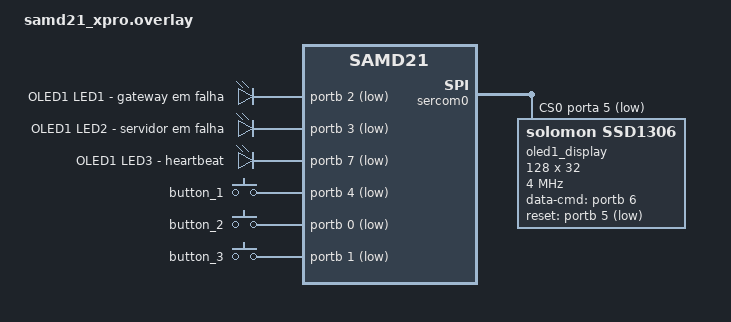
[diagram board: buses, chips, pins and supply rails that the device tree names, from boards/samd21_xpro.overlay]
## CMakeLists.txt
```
cmake_minimum_required(VERSION 3.20.0)

find_package(Zephyr REQUIRED HINTS $ENV{ZEPHYR_BASE})
project(supervisor LANGUAGES C)

target_sources(app PRIVATE
  src/main.c
  src/monitor.c
  src/http.c
  src/ui.c
)
target_sources_ifdef(CONFIG_CHARACTER_FRAMEBUFFER app PRIVATE src/font6x8.c)

# Linhas do display são cortadas em 21 colunas de propósito
target_compile_options(app PRIVATE -Wno-format-truncation)
```

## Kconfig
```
menu "Supervisor (grupo D)"

config SUPERVISOR_GATEWAY_ADDR
	string "IPv4 do gateway"
	default "192.168.0.10"

config SUPERVISOR_GATEWAY_PORT
	int "Porta HTTP do gateway"
	default 5500
	help
	  5500 = simulador (pasta sim/). Na integração, a porta real do grupo B.

config SUPERVISOR_SERVER_ADDR
	string "IPv4 do servidor"
	default "192.168.0.10"

config SUPERVISOR_SERVER_PORT
	int "Porta HTTP do servidor"
	default 5501
	help
	  5501 = simulador (pasta sim/). Na integração, a porta real do grupo C.

config SUPERVISOR_POLL_MS
	int "Período de consulta (ms)"
	default 2000

config SUPERVISOR_TIMEOUT_MS
	int "Timeout de cada requisição HTTP (ms)"
	default 1500

config SUPERVISOR_FAIL_THRESHOLD
	int "N timeouts consecutivos para marcar falha"
	default 3

config SUPERVISOR_RESET_GRACE_MS
	int "Tempo após POST /reset em que falhas não contam (ms)"
	default 10000

endmenu

source "Kconfig.zephyr"
```

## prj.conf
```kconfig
# Comum a todas as placas. Ajustes por placa em boards/<placa>.conf

CONFIG_LOG=y
CONFIG_JSON_LIBRARY=y

CONFIG_NETWORKING=y
CONFIG_NET_IPV4=y
CONFIG_NET_IPV6=n
CONFIG_NET_TCP=y
CONFIG_NET_SOCKETS=y

# Endereços do gateway e do servidor. O http.c resolve com getaddrinfo, que
# trata IP literal sem precisar do resolver de DNS ligado — e ele está
# desligado de propósito, ver a nota em boards/samd21_xpro.conf.
# Com o simulador (pasta sim/), são o IP do PC nas portas 5500 e 5501.
CONFIG_SUPERVISOR_GATEWAY_ADDR="45.182.14.16"
CONFIG_SUPERVISOR_SERVER_ADDR="45.182.14.16"
```

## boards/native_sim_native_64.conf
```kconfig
# Roda o supervisor no PC (Linux) usando os sockets do host: testa toda a
# lógica contra o simulador (pasta sim/) sem placa. Sem display: as telas
# saem no console.
CONFIG_NET_DRIVERS=y
CONFIG_NET_SOCKETS_OFFLOAD=y
CONFIG_NET_NATIVE_OFFLOADED_SOCKETS=y
CONFIG_ETH_NATIVE_TAP=n

CONFIG_SUPERVISOR_GATEWAY_ADDR="127.0.0.1"
CONFIG_SUPERVISOR_SERVER_ADDR="127.0.0.1"
```

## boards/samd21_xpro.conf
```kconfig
# OLED1: display SSD1306 por SPI + botões (gpio-keys) + LEDs
CONFIG_GPIO=y
CONFIG_SPI=y
CONFIG_INPUT=y
CONFIG_DISPLAY=y
CONFIG_CHARACTER_FRAMEBUFFER=y
CONFIG_CHARACTER_FRAMEBUFFER_USE_DEFAULT_FONTS=n
CONFIG_HEAP_MEM_POOL_SIZE=1024

# Ethernet SPI (o driver vem de eth_ksz8851snl.overlay)
CONFIG_NET_L2_ETHERNET=y
CONFIG_ETH_DRIVER=y

# Endereco da placa por DHCP: basta plugar o cabo no roteador.
CONFIG_NET_CONFIG_SETTINGS=y
CONFIG_NET_DHCPV4=y

# String vazia faz o setup_ipv4() do net_config nao adicionar endereco nenhum
# e deixar tudo para o DHCP. Para voltar ao IP fixo, basta preencher.
CONFIG_NET_CONFIG_MY_IPV4_ADDR=""
CONFIG_NET_CONFIG_MY_IPV4_NETMASK=""
CONFIG_NET_CONFIG_MY_IPV4_GW=""

# No padrao (30 s) o Zephyr segura o main() esperando a interface e o OLED fica
# apagado esse tempo todo. O cliente DHCP escuta NET_EVENT_IF_UP sozinho.
CONFIG_NET_CONFIG_INIT_TIMEOUT=1
CONFIG_NET_SOCKETS_CONNECT_TIMEOUT=1500

# DNS desligado: o getaddrinfo resolve IP literal sem o resolver, que custava
# ~3 KB de RAM. Para usar nome, acrescentar (o http.c nao muda):
#   CONFIG_DNS_RESOLVER=y
#   CONFIG_NET_DHCPV4_OPTION_DNS_ADDRESS=y
#   CONFIG_NET_SOCKETS_DNS_TIMEOUT=1500
#   CONFIG_DNS_RESOLVER_MAX_QUERY_LEN=64
#   CONFIG_DNS_RESOLVER_MAX_ANSWER_SIZE=256
#   CONFIG_DNS_RESOLVER_ADDITIONAL_BUF_CTR=0
#   CONFIG_DNS_RESOLVER_CACHE=y
#   CONFIG_DNS_RESOLVER_CACHE_MAX_ENTRIES=2

# SAMD21 tem 32 KB de RAM: pilha de rede enxuta
CONFIG_NET_PKT_RX_COUNT=6
CONFIG_NET_PKT_TX_COUNT=6
CONFIG_NET_BUF_RX_COUNT=12
CONFIG_NET_BUF_TX_COUNT=12
CONFIG_NET_MAX_CONTEXTS=4
CONFIG_NET_MAX_CONN=4
CONFIG_ZVFS_OPEN_MAX=8
CONFIG_NET_TCP_WORKQ_STACK_SIZE=768
CONFIG_NET_RX_STACK_SIZE=1024
CONFIG_NET_TX_STACK_SIZE=1024
CONFIG_NET_MGMT_EVENT_STACK_SIZE=768
CONFIG_MAIN_STACK_SIZE=1024
# A transmissao roda na workqueue do sistema e a cadeia ate o spi_sam0 e funda:
# com 1 KB (o padrao) ela estourava.
CONFIG_SYSTEM_WORKQUEUE_STACK_SIZE=1280
# Sem MPU no SAMD21, estouro de pilha corrompe memoria em silencio; o
# sentinela transforma isso em panico com mensagem.
CONFIG_STACK_SENTINEL=y
CONFIG_INPUT_THREAD_STACK_SIZE=512
# log síncrono via printk: economiza ~2 KB (sem thread nem buffer de log)
CONFIG_LOG_MODE_MINIMAL=y
CONFIG_ISR_STACK_SIZE=1024

# SAMD21 não tem TRNG; o TCP precisa de números aleatórios (portas, ISN).
# Não é seguro para criptografia, mas aqui não há TLS.
CONFIG_TEST_RANDOM_GENERATOR=y
```

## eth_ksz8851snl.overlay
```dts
/*
 * Ethernet1 Xplained Pro (ATETHERNET1-XPRO, chip KSZ8851SNL) no EXT3 da
 * SAM D21 Xplained Pro.
 *
 *   west build -b samd21_xpro supervisor -- -DEXTRA_DTC_OVERLAY_FILE=eth_ksz8851snl.overlay
 *
 * Pinos da Ethernet1 (tabela 1-4 do user guide dela) -> EXT3 da SAMD21 Xpro
 * (tabela 4-3, páginas 12-13 do Atmel-42220B):
 *
 *   EXT  sinal      SAMD21   observação
 *    5   PME        PB30     wake-on-LAN; é o LED0 da placa (ver abaixo)
 *    6   nRST       PA15     é o SW0 da placa (ver abaixo)
 *    9   INTRN      PA28     interrupção, ativa baixa, EXTINT[8]
 *   15   SPI_SS_A   PB17     chip select
 *   16   SPI_MOSI   PB22     SERCOM5 PAD2
 *   17   SPI_MISO   PB16     SERCOM5 PAD0
 *   18   SPI_SCK    PB23     SERCOM5 PAD3
 *
 * Cuidado: o nRST fica no pino 6, não no 10 como é comum em outros módulos
 * SPI do padrão Xplained Pro. Nesta placa o pino 10 é NC.
 *
 * O nRST cai no PA15, que é o SW0 da placa e aterra o pino quando apertado.
 * Não dá para omitir reset-gpios e confiar no pull-up do gpio-keys: ele
 * inicializa em prioridade 90 e o driver de Ethernet em 60, então o nRST
 * ficaria flutuando na leitura do Chip ID. O driver trata o pino como dreno
 * aberto, e o user_button é removido para não disputar o PA15.
 */

&pinctrl {
	sercom5_spi_ext3: sercom5_spi_ext3 {
		group1 {
			pinmux = <PB16C_SERCOM5_PAD0>,
				 <PB22D_SERCOM5_PAD2>,
				 <PB23D_SERCOM5_PAD3>;
		};
	};
};

/* O PB30 é o LED0 da placa e também o PME da Ethernet: remover o LED0 evita
 * que algum código o acione contra essa saída.
 */
/delete-node/ &pwm_led0;
/delete-node/ &led0;

/* O PA15 passa a ser o nRST da Ethernet; ver a nota no cabeçalho */
/delete-node/ &user_button;

/ {
	aliases {
		/delete-property/ led0;
		/delete-property/ pwm-led0;
		/delete-property/ sw0;
	};
};

&tcc0 {
	status = "disabled";
};

/* O samd21_xpro.overlay desliga o SERCOM5 por causa do PB02; aqui ele volta */
&sercom5 {
	status = "okay";
	/* MISO = PAD0, MOSI = PAD2, SCK = PAD3 */
	dipo = <0>;
	dopo = <1>;
	pinctrl-0 = <&sercom5_spi_ext3>;

	/*
	 * PB17 é o chip select da Ethernet (reg = <0>). PA13 é o do Serial
	 * Flash, que divide este barramento e não tem nó filho: está aqui só
	 * para o spi_context_cs_configure_all() o deixar em nível alto no init,
	 * em vez de flutuar e responder no meio das transferências.
	 */
	cs-gpios = <&portb 17 GPIO_ACTIVE_LOW>,
		   <&porta 13 GPIO_ACTIVE_LOW>;

	eth: ksz8851snl@0 {
		compatible = "microchip,ksz8851snl";
		reg = <0>;
		/* O chip aceita até 40 MHz; 8 MHz é folgado para o SERCOM */
		spi-max-frequency = <8000000>;
		int-gpios = <&porta 28 GPIO_ACTIVE_LOW>;
		reset-gpios = <&porta 15 GPIO_ACTIVE_LOW>;
		local-mac-address = [02 00 00 00 00 0d];
	};
};
```

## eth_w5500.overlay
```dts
/*
 * EXEMPLO de módulo Ethernet SPI no EXT1 da SAMD21 Xpro (ainda não sabemos
 * qual módulo o laboratório tem). Usar com:
 *
 *   west build -b samd21_xpro supervisor -- -DEXTRA_DTC_OVERLAY_FILE=eth_w5500.overlay
 *
 * EXT1: 15 SS PA05 | 16 MOSI PA06 | 17 MISO PA04 | 18 SCK PA07 | 9 IRQ PB04 | 10 RESET PB05
 *
 * Para ENC28J60 (ex.: ETH Click): trocar o nó por compatible = "microchip,enc28j60"
 * (mesmos reg/int-gpios/spi-max-frequency, ver dts/bindings/ethernet no Zephyr).
 * O ETHERNET1 Xplained Pro (KSZ8851SNL) NÃO tem driver no Zephyr.
 */

&pinctrl {
	sercom0_spi_ext1: sercom0_spi_ext1 {
		group1 {
			pinmux = <PA4D_SERCOM0_PAD0>,
				 <PA6D_SERCOM0_PAD2>,
				 <PA7D_SERCOM0_PAD3>;
		};
	};
};

/* Na placa o SERCOM0 vem como UART; aqui vira o SPI do EXT1 */
&sercom0 {
	compatible = "atmel,sam0-spi";
	/delete-property/ current-speed;
	/delete-property/ rxpo;
	/delete-property/ txpo;
	status = "okay";
	#address-cells = <1>;
	#size-cells = <0>;
	dipo = <0>;
	dopo = <1>;
	pinctrl-0 = <&sercom0_spi_ext1>;
	cs-gpios = <&porta 5 GPIO_ACTIVE_LOW>;

	eth: w5500@0 {
		compatible = "wiznet,w5500";
		reg = <0>;
		spi-max-frequency = <8000000>;
		int-gpios = <&portb 4 GPIO_ACTIVE_LOW>;
		reset-gpios = <&portb 5 GPIO_ACTIVE_LOW>;
		local-mac-address = [02 00 00 00 00 0d];
	};
};
```

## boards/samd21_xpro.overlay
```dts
/*
 * SAM D21 Xplained Pro + OLED1 Xplained Pro no conector EXT1.
 *
 * Pinos do OLED1 (tabela 1-2 do user guide dele) -> EXT1 da SAMD21 Xpro
 * (tabela 4-1, página 11 do Atmel-42220B):
 *
 *   EXT  sinal           SAMD21
 *    3   BOTÃO 2         PB00
 *    4   BOTÃO 3         PB01
 *    5   D/C             PB06
 *    6   LED 3           PB07
 *    7   LED 1           PB02
 *    8   LED 2           PB03
 *    9   BOTÃO 1         PB04
 *   10   DISPLAY_RESET   PB05
 *   15   SPI SS          PA05
 *   16   SPI MOSI        PA06   (SERCOM0 PAD2)
 *   17   SPI MISO        PA04   (SERCOM0 PAD0)
 *   18   SPI SCK         PA07   (SERCOM0 PAD3)
 *
 * Fica no EXT1, e não no EXT3, porque lá dois sinais não chegam ao MCU (notas
 * 1 e 2 da tabela 4-3): o LED 2 (PA13) sai de fábrica ligado ao Serial Flash e
 * desconectado do conector, e o BOTÃO 3 (PA03) depende do jumper JS300. No
 * EXT1 nenhum pino é compartilhado.
 */

#include <zephyr/dt-bindings/input/input-event-codes.h>

/ {
	chosen {
		zephyr,display = &oled1_display;
	};

	oled1_leds {
		compatible = "gpio-leds";

		led_gw: led_1 {
			gpios = <&portb 2 GPIO_ACTIVE_LOW>;
			label = "OLED1 LED1 - gateway em falha";
		};

		led_srv: led_2 {
			gpios = <&portb 3 GPIO_ACTIVE_LOW>;
			label = "OLED1 LED2 - servidor em falha";
		};

		led_hb: led_3 {
			gpios = <&portb 7 GPIO_ACTIVE_LOW>;
			label = "OLED1 LED3 - heartbeat";
		};
	};

	oled1_buttons {
		compatible = "gpio-keys";

		button_1 {
			gpios = <&portb 4 (GPIO_PULL_UP | GPIO_ACTIVE_LOW)>;
			zephyr,code = <INPUT_KEY_1>;
		};

		button_2 {
			gpios = <&portb 0 (GPIO_PULL_UP | GPIO_ACTIVE_LOW)>;
			zephyr,code = <INPUT_KEY_2>;
		};

		button_3 {
			gpios = <&portb 1 (GPIO_PULL_UP | GPIO_ACTIVE_LOW)>;
			zephyr,code = <INPUT_KEY_3>;
		};
	};
};

/*
 * O pinctrl padrão do SERCOM5 usa o PB02 como PAD0, e o PB02 é o pino 7 do
 * EXT1, onde agora está o LED 1. Sem desligar o SERCOM5 o driver de SPI toma
 * esse pino no init e o LED 1 nunca acende. Quem usa o EXT3 é a Ethernet, e o
 * eth_ksz8851snl.overlay reabilita o SERCOM5 com os pinos certos do EXT3.
 */
&sercom5 {
	status = "disabled";
};

&pinctrl {
	sercom0_spi_ext1: sercom0_spi_ext1 {
		group1 {
			pinmux = <PA4D_SERCOM0_PAD0>,
				 <PA6D_SERCOM0_PAD2>,
				 <PA7D_SERCOM0_PAD3>;
		};
	};
};

/* Na placa o SERCOM0 vem declarado como UART; aqui vira o SPI do EXT1 */
&sercom0 {
	compatible = "atmel,sam0-spi";
	/delete-property/ current-speed;
	/delete-property/ rxpo;
	/delete-property/ txpo;
	status = "okay";
	#address-cells = <1>;
	#size-cells = <0>;
	/* MISO = PAD0, MOSI = PAD2, SCK = PAD3 */
	dipo = <0>;
	dopo = <1>;
	pinctrl-0 = <&sercom0_spi_ext1>;
	cs-gpios = <&porta 5 GPIO_ACTIVE_LOW>;

	oled1_display: ssd1306@0 {
		compatible = "solomon,ssd1306";
		reg = <0>;
		spi-max-frequency = <4000000>;
		data-cmd-gpios = <&portb 6 GPIO_ACTIVE_HIGH>;
		reset-gpios = <&portb 5 GPIO_ACTIVE_LOW>;
		width = <128>;
		height = <32>;
		segment-offset = <0>;
		page-offset = <0>;
		display-offset = <0>;
		multiplex-ratio = <31>;
		segment-remap;
		com-invdir;
		com-sequential;
		prechargep = <0x22>;
	};
};
```

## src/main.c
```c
/*
 * Supervisor (grupo D): consulta gateway e servidor via HTTP, mostra o estado
 * no OLED1, sinaliza falhas nos LEDs e tenta recuperar com POST /reset após
 * N timeouts consecutivos.
 */

#include <stdarg.h>
#include <stdio.h>
#include <string.h>

#include <zephyr/kernel.h>
#include <zephyr/data/json.h>
#include <zephyr/logging/log.h>

#include "http.h"
#include "supervisor.h"

LOG_MODULE_REGISTER(supervisor, LOG_LEVEL_INF);

K_MUTEX_DEFINE(sup_lock);

struct sup_state sup = {
	.gw = {.threshold = CONFIG_SUPERVISOR_FAIL_THRESHOLD,
	       .grace_ms = CONFIG_SUPERVISOR_RESET_GRACE_MS},
	.srv = {.threshold = CONFIG_SUPERVISOR_FAIL_THRESHOLD,
		.grace_ms = CONFIG_SUPERVISOR_RESET_GRACE_MS},
};

/* Uma resposta por vez: só a thread de consulta usa */
static char buf[1536];

/* --- JSON (contrato do PDF; campos extras são ignorados) ------------------ */

struct health_json {
	const char *status;
	int32_t uptime_ms;
	int32_t nodes_online;
};

static const struct json_obj_descr health_descr[] = {
	JSON_OBJ_DESCR_PRIM(struct health_json, status, JSON_TOK_STRING),
	JSON_OBJ_DESCR_PRIM(struct health_json, uptime_ms, JSON_TOK_NUMBER),
	JSON_OBJ_DESCR_PRIM(struct health_json, nodes_online, JSON_TOK_NUMBER),
};

struct node_json {
	int32_t node_id;
	int32_t light;
	struct json_obj_token temp_c;
	struct json_obj_token accel[3];
	size_t accel_len;
	int32_t last_seen_ms;
	int32_t flags;
};

static const struct json_obj_descr node_descr[] = {
	JSON_OBJ_DESCR_PRIM(struct node_json, node_id, JSON_TOK_NUMBER),
	JSON_OBJ_DESCR_PRIM(struct node_json, light, JSON_TOK_NUMBER),
	JSON_OBJ_DESCR_PRIM(struct node_json, temp_c, JSON_TOK_FLOAT),
	JSON_OBJ_DESCR_ARRAY(struct node_json, accel, 3, accel_len, JSON_TOK_FLOAT),
	JSON_OBJ_DESCR_PRIM(struct node_json, last_seen_ms, JSON_TOK_NUMBER),
	JSON_OBJ_DESCR_PRIM(struct node_json, flags, JSON_TOK_NUMBER),
};

struct data_json {
	struct node_json nodes[MAX_NODES];
	size_t n;
};

static const struct json_obj_descr data_descr[] = {
	JSON_OBJ_DESCR_OBJ_ARRAY(struct data_json, nodes, MAX_NODES, n, node_descr,
				 ARRAY_SIZE(node_descr)),
};

/* --- log de eventos ------------------------------------------------------- */

static void add_event(const char *fmt, ...)
{
	struct event *e;
	va_list ap;

	k_mutex_lock(&sup_lock, K_FOREVER);
	e = &sup.events[sup.n_events++ % MAX_EVENTS];
	e->t_s = k_uptime_get() / 1000;
	va_start(ap, fmt);
	vsnprintf(e->text, sizeof(e->text), fmt, ap);
	va_end(ap);
	LOG_INF("evento: %s", e->text);
	k_mutex_unlock(&sup_lock);
	ui_poke();
}

/* --- consultas ------------------------------------------------------------ */

static void copy_token(char *dst, size_t size, const struct json_obj_token *t)
{
	snprintf(dst, size, "%.*s", (int)t->length, t->start ? t->start : "");
}

static void poll_health(const char *name, struct monitor *m, const char *addr,
			uint16_t port, bool is_gateway)
{
	struct health_json h = {0};
	char *body = NULL;
	int status = http_request(addr, port, "GET", "/health", buf, sizeof(buf), &body);
	bool ok = (status == 200);
	uint32_t uptime = m->uptime_ms;
	unsigned int ev;

	if (ok) {
		int64_t fields = json_obj_parse(body, strlen(body), health_descr,
						ARRAY_SIZE(health_descr), &h);

		if (fields >= 0 && (fields & BIT(1))) {
			uptime = h.uptime_ms;
		}
	} else {
		LOG_WRN("%s /health falhou (%d)", name, status);
	}

	/* Vivo = respondeu 200. O status do corpo ("degraded"...) só é exibido:
	 * servidor sem gateway não é motivo para resetar o servidor.
	 */
	k_mutex_lock(&sup_lock, K_FOREVER);
	m->last_result = status;
	ev = monitor_update(m, ok, uptime, k_uptime_get());
	if (ok && is_gateway) {
		sup.nodes_online = h.nodes_online;
	}
	k_mutex_unlock(&sup_lock);

	if (ev & MON_EV_UP) {
		add_event("%s online", name);
	}
	if (ev & MON_EV_REBOOT) {
		add_event("%s reiniciou", name);
	}
	if (ev & MON_EV_DOWN) {
		add_event("%s FALHA", name);
	}
	if (ev & MON_EV_RESET) {
		status = http_request(addr, port, "POST", "/reset", buf, sizeof(buf), &body);
		add_event("%s reset %s", name, status == 200 ? "ok" : "s/resp");
	}
}

static void poll_data(void)
{
	static struct data_json d; /* ~420 B: fora da pilha */
	char *body = NULL;
	int status = http_request(CONFIG_SUPERVISOR_SERVER_ADDR, CONFIG_SUPERVISOR_SERVER_PORT,
				  "GET", "/data", buf, sizeof(buf), &body);
	int ret;

	if (status != 200) {
		return; /* /health já contabiliza a falha */
	}

	memset(&d, 0, sizeof(d));
	ret = json_arr_parse(body, strlen(body), data_descr, &d);
	if (ret < 0) {
		LOG_WRN("/data: JSON inválido (%d)", ret);
		return;
	}

	k_mutex_lock(&sup_lock, K_FOREVER);
	sup.n_nodes = d.n;
	for (size_t i = 0; i < d.n; i++) {
		struct node_view *v = &sup.nodes[i];
		const struct node_json *j = &d.nodes[i];

		v->id = j->node_id;
		v->light = j->light;
		v->flags = j->flags;
		v->age_ms = j->last_seen_ms;
		copy_token(v->temp, sizeof(v->temp), &j->temp_c);
		for (size_t k = 0; k < 3; k++) {
			copy_token(v->accel[k], sizeof(v->accel[k]),
				   k < j->accel_len ? &j->accel[k] : &(struct json_obj_token){0});
		}
	}
	k_mutex_unlock(&sup_lock);
}

static void poll_thread(void *p1, void *p2, void *p3)
{
	LOG_INF("gateway %s:%d, servidor %s:%d, N=%d", CONFIG_SUPERVISOR_GATEWAY_ADDR,
		CONFIG_SUPERVISOR_GATEWAY_PORT, CONFIG_SUPERVISOR_SERVER_ADDR,
		CONFIG_SUPERVISOR_SERVER_PORT, CONFIG_SUPERVISOR_FAIL_THRESHOLD);

	for (;;) {
		int64_t start = k_uptime_get();

		poll_health("GW", &sup.gw, CONFIG_SUPERVISOR_GATEWAY_ADDR,
			    CONFIG_SUPERVISOR_GATEWAY_PORT, true);
		poll_health("SRV", &sup.srv, CONFIG_SUPERVISOR_SERVER_ADDR,
			    CONFIG_SUPERVISOR_SERVER_PORT, false);
		if (!sup.srv.failed && sup.srv.fails == 0) {
			poll_data();
		}

		sup.cycles++;
		ui_poke();

		int64_t left = CONFIG_SUPERVISOR_POLL_MS - (k_uptime_get() - start);

		if (left > 0) {
			k_msleep(left);
		}
	}
}

K_THREAD_DEFINE(poll_tid, 2048, poll_thread, NULL, NULL, NULL, 7, 0, 1000);

int main(void)
{
	ui_run();
	return 0;
}
```

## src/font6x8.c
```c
/*
 * Fonte 6x8 (5x7 clássica + 1 coluna de espaço) para o CFB: no OLED de
 * 128x32 cabem 4 linhas de 21 caracteres. As fontes padrão do Zephyr
 * (10x16 ou maiores) só dariam 2 linhas de 12.
 *
 * Formato CFB_FONT_MONO_VPACKED: 1 byte por coluna, bit 0 = linha de cima.
 */

#include <zephyr/display/cfb.h>

static const uint8_t font6x8[][6] = {
	{0x00, 0x00, 0x00, 0x00, 0x00, 0x00}, /* ' ' */
	{0x00, 0x00, 0x5F, 0x00, 0x00, 0x00}, /* '!' */
	{0x00, 0x07, 0x00, 0x07, 0x00, 0x00}, /* '"' */
	{0x14, 0x7F, 0x14, 0x7F, 0x14, 0x00}, /* '#' */
	{0x24, 0x2A, 0x7F, 0x2A, 0x12, 0x00}, /* '$' */
	{0x23, 0x13, 0x08, 0x64, 0x62, 0x00}, /* '%' */
	{0x36, 0x49, 0x55, 0x22, 0x50, 0x00}, /* '&' */
	{0x00, 0x05, 0x03, 0x00, 0x00, 0x00}, /* ''' */
	{0x00, 0x1C, 0x22, 0x41, 0x00, 0x00}, /* '(' */
	{0x00, 0x41, 0x22, 0x1C, 0x00, 0x00}, /* ')' */
	{0x08, 0x2A, 0x1C, 0x2A, 0x08, 0x00}, /* '*' */
	{0x08, 0x08, 0x3E, 0x08, 0x08, 0x00}, /* '+' */
	{0x00, 0x50, 0x30, 0x00, 0x00, 0x00}, /* ',' */
	{0x08, 0x08, 0x08, 0x08, 0x08, 0x00}, /* '-' */
	{0x00, 0x60, 0x60, 0x00, 0x00, 0x00}, /* '.' */
	{0x20, 0x10, 0x08, 0x04, 0x02, 0x00}, /* '/' */
	{0x3E, 0x51, 0x49, 0x45, 0x3E, 0x00}, /* '0' */
	{0x00, 0x42, 0x7F, 0x40, 0x00, 0x00}, /* '1' */
	{0x42, 0x61, 0x51, 0x49, 0x46, 0x00}, /* '2' */
	{0x21, 0x41, 0x45, 0x4B, 0x31, 0x00}, /* '3' */
	{0x18, 0x14, 0x12, 0x7F, 0x10, 0x00}, /* '4' */
	{0x27, 0x45, 0x45, 0x45, 0x39, 0x00}, /* '5' */
	{0x3C, 0x4A, 0x49, 0x49, 0x30, 0x00}, /* '6' */
	{0x01, 0x71, 0x09, 0x05, 0x03, 0x00}, /* '7' */
	{0x36, 0x49, 0x49, 0x49, 0x36, 0x00}, /* '8' */
	{0x06, 0x49, 0x49, 0x29, 0x1E, 0x00}, /* '9' */
	{0x00, 0x36, 0x36, 0x00, 0x00, 0x00}, /* ':' */
	{0x00, 0x56, 0x36, 0x00, 0x00, 0x00}, /* ';' */
	{0x08, 0x14, 0x22, 0x41, 0x00, 0x00}, /* '<' */
	{0x14, 0x14, 0x14, 0x14, 0x14, 0x00}, /* '=' */
	{0x00, 0x41, 0x22, 0x14, 0x08, 0x00}, /* '>' */
	{0x02, 0x01, 0x51, 0x09, 0x06, 0x00}, /* '?' */
	{0x32, 0x49, 0x79, 0x41, 0x3E, 0x00}, /* '@' */
	{0x7E, 0x11, 0x11, 0x11, 0x7E, 0x00}, /* 'A' */
	{0x7F, 0x49, 0x49, 0x49, 0x36, 0x00}, /* 'B' */
	{0x3E, 0x41, 0x41, 0x41, 0x22, 0x00}, /* 'C' */
	{0x7F, 0x41, 0x41, 0x22, 0x1C, 0x00}, /* 'D' */
	{0x7F, 0x49, 0x49, 0x49, 0x41, 0x00}, /* 'E' */
	{0x7F, 0x09, 0x09, 0x01, 0x01, 0x00}, /* 'F' */
	{0x3E, 0x41, 0x41, 0x51, 0x32, 0x00}, /* 'G' */
	{0x7F, 0x08, 0x08, 0x08, 0x7F, 0x00}, /* 'H' */
	{0x00, 0x41, 0x7F, 0x41, 0x00, 0x00}, /* 'I' */
	{0x20, 0x40, 0x41, 0x3F, 0x01, 0x00}, /* 'J' */
	{0x7F, 0x08, 0x14, 0x22, 0x41, 0x00}, /* 'K' */
	{0x7F, 0x40, 0x40, 0x40, 0x40, 0x00}, /* 'L' */
	{0x7F, 0x02, 0x04, 0x02, 0x7F, 0x00}, /* 'M' */
	{0x7F, 0x04, 0x08, 0x10, 0x7F, 0x00}, /* 'N' */
	{0x3E, 0x41, 0x41, 0x41, 0x3E, 0x00}, /* 'O' */
	{0x7F, 0x09, 0x09, 0x09, 0x06, 0x00}, /* 'P' */
	{0x3E, 0x41, 0x51, 0x21, 0x5E, 0x00}, /* 'Q' */
	{0x7F, 0x09, 0x19, 0x29, 0x46, 0x00}, /* 'R' */
	{0x46, 0x49, 0x49, 0x49, 0x31, 0x00}, /* 'S' */
	{0x01, 0x01, 0x7F, 0x01, 0x01, 0x00}, /* 'T' */
	{0x3F, 0x40, 0x40, 0x40, 0x3F, 0x00}, /* 'U' */
	{0x1F, 0x20, 0x40, 0x20, 0x1F, 0x00}, /* 'V' */
	{0x7F, 0x20, 0x18, 0x20, 0x7F, 0x00}, /* 'W' */
	{0x63, 0x14, 0x08, 0x14, 0x63, 0x00}, /* 'X' */
	{0x03, 0x04, 0x78, 0x04, 0x03, 0x00}, /* 'Y' */
	{0x61, 0x51, 0x49, 0x45, 0x43, 0x00}, /* 'Z' */
	{0x00, 0x7F, 0x41, 0x41, 0x00, 0x00}, /* '[' */
	{0x02, 0x04, 0x08, 0x10, 0x20, 0x00}, /* '\' */
	{0x00, 0x41, 0x41, 0x7F, 0x00, 0x00}, /* ']' */
	{0x04, 0x02, 0x01, 0x02, 0x04, 0x00}, /* '^' */
	{0x40, 0x40, 0x40, 0x40, 0x40, 0x00}, /* '_' */
	{0x00, 0x01, 0x02, 0x04, 0x00, 0x00}, /* '`' */
	{0x20, 0x54, 0x54, 0x54, 0x78, 0x00}, /* 'a' */
	{0x7F, 0x48, 0x44, 0x44, 0x38, 0x00}, /* 'b' */
	{0x38, 0x44, 0x44, 0x44, 0x20, 0x00}, /* 'c' */
	{0x38, 0x44, 0x44, 0x48, 0x7F, 0x00}, /* 'd' */
	{0x38, 0x54, 0x54, 0x54, 0x18, 0x00}, /* 'e' */
	{0x08, 0x7E, 0x09, 0x01, 0x02, 0x00}, /* 'f' */
	{0x18, 0xA4, 0xA4, 0xA4, 0x7C, 0x00}, /* 'g' */
	{0x7F, 0x08, 0x04, 0x04, 0x78, 0x00}, /* 'h' */
	{0x00, 0x44, 0x7D, 0x40, 0x00, 0x00}, /* 'i' */
	{0x40, 0x80, 0x84, 0x7D, 0x00, 0x00}, /* 'j' */
	{0x7F, 0x10, 0x28, 0x44, 0x00, 0x00}, /* 'k' */
	{0x00, 0x41, 0x7F, 0x40, 0x00, 0x00}, /* 'l' */
	{0x7C, 0x04, 0x18, 0x04, 0x78, 0x00}, /* 'm' */
	{0x7C, 0x08, 0x04, 0x04, 0x78, 0x00}, /* 'n' */
	{0x38, 0x44, 0x44, 0x44, 0x38, 0x00}, /* 'o' */
	{0xFC, 0x24, 0x24, 0x24, 0x18, 0x00}, /* 'p' */
	{0x18, 0x24, 0x24, 0x28, 0xFC, 0x00}, /* 'q' */
	{0x7C, 0x08, 0x04, 0x04, 0x08, 0x00}, /* 'r' */
	{0x48, 0x54, 0x54, 0x54, 0x20, 0x00}, /* 's' */
	{0x04, 0x3F, 0x44, 0x40, 0x20, 0x00}, /* 't' */
	{0x3C, 0x40, 0x40, 0x20, 0x7C, 0x00}, /* 'u' */
	{0x1C, 0x20, 0x40, 0x20, 0x1C, 0x00}, /* 'v' */
	{0x3C, 0x40, 0x30, 0x40, 0x3C, 0x00}, /* 'w' */
	{0x44, 0x28, 0x10, 0x28, 0x44, 0x00}, /* 'x' */
	{0x1C, 0xA0, 0xA0, 0xA0, 0x7C, 0x00}, /* 'y' */
	{0x44, 0x64, 0x54, 0x4C, 0x44, 0x00}, /* 'z' */
	{0x00, 0x08, 0x36, 0x41, 0x00, 0x00}, /* '{' */
	{0x00, 0x00, 0x7F, 0x00, 0x00, 0x00}, /* '|' */
	{0x00, 0x41, 0x36, 0x08, 0x00, 0x00}, /* '}' */
	{0x08, 0x04, 0x08, 0x10, 0x08, 0x00}, /* '~' */
};

FONT_ENTRY_DEFINE(font6x8_entry, 6, 8, CFB_FONT_MONO_VPACKED, font6x8, ' ', '~');
```

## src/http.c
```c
/*
 * Cliente HTTP mínimo sobre sockets. Funciona com qualquer interface de rede
 * do Zephyr (driver Ethernet SPI, ou sockets do host no native_sim).
 */

#include <errno.h>
#include <stdlib.h>
#include <string.h>
#include <strings.h>

#include <zephyr/kernel.h>
#include <zephyr/net/socket.h>

#include "http.h"

/* Remove o "Transfer-Encoding: chunked" no próprio buffer */
static int dechunk(char *p)
{
	char *out = p;
	char *in = p;

	for (;;) {
		char *end;
		unsigned long n = strtoul(in, &end, 16);

		if (end == in || (end = strstr(end, "\r\n")) == NULL) {
			return -EBADMSG;
		}
		if (n == 0) {
			break;
		}
		in = end + 2;
		if (strlen(in) < n) {
			return -EBADMSG;
		}
		memmove(out, in, n);
		out += n;
		in += n + 2;
	}
	*out = '\0';
	return 0;
}

/* Valor do cabeçalho `name` (sem o ':'), ou NULL */
static const char *header(const char *hdrs, const char *name)
{
	size_t len = strlen(name);

	for (const char *p = hdrs; p != NULL; p = strstr(p, "\r\n")) {
		p += (p == hdrs) ? 0 : 2;
		if (strncasecmp(p, name, len) == 0 && p[len] == ':') {
			return p + len + 1 + strspn(p + len + 1, " ");
		}
	}
	return NULL;
}

/* Resposta completa? Evita esperar o timeout se o servidor não fechar a conexão */
static bool complete(const char *buf, size_t used)
{
	const char *sep = strstr(buf, "\r\n\r\n");
	const char *v;

	if (sep == NULL) {
		return false;
	}
	v = header(buf, "Content-Length");
	if (v != NULL) {
		return used >= (size_t)(sep + 4 - buf) + strtoul(v, NULL, 10);
	}
	v = header(buf, "Transfer-Encoding");
	return v != NULL && strncasecmp(v, "chunked", 7) == 0 &&
	       used >= 5 && strcmp(buf + used - 5, "0\r\n\r\n") == 0;
}

int http_request(const char *addr, uint16_t port, const char *method, const char *path,
		 char *buf, size_t size, char **body)
{
	struct zsock_addrinfo hints = {
		.ai_family = AF_INET,
		.ai_socktype = SOCK_STREAM,
		.ai_protocol = IPPROTO_TCP,
	};
	struct zsock_addrinfo *ai = NULL;
	struct timeval tv = {
		.tv_sec = CONFIG_SUPERVISOR_TIMEOUT_MS / 1000,
		.tv_usec = (CONFIG_SUPERVISOR_TIMEOUT_MS % 1000) * 1000,
	};
	char service[6];
	size_t used = 0;
	ssize_t n = 0;
	char *sep;
	int sock;
	int len;
	int ret;

	/* getaddrinfo aceita nome ou IP literal; com IP não precisa do
	 * resolver de DNS ligado. O mesmo `addr` vai no cabeçalho Host.
	 */
	snprintk(service, sizeof(service), "%u", port);
	if (zsock_getaddrinfo(addr, service, &hints, &ai) != 0 || ai == NULL) {
		return -EHOSTUNREACH;
	}

	sock = zsock_socket(AF_INET, SOCK_STREAM, IPPROTO_TCP);
	if (sock < 0) {
		zsock_freeaddrinfo(ai);
		return -errno;
	}
	zsock_setsockopt(sock, ZSOCK_SOL_SOCKET, ZSOCK_SO_RCVTIMEO, &tv, sizeof(tv));
	zsock_setsockopt(sock, ZSOCK_SOL_SOCKET, ZSOCK_SO_SNDTIMEO, &tv, sizeof(tv));

	len = snprintk(buf, size,
		       "%s %s HTTP/1.1\r\nHost: %s:%u\r\nContent-Length: 0\r\n"
		       "Connection: close\r\n\r\n",
		       method, path, addr, port);

	if (zsock_connect(sock, ai->ai_addr, ai->ai_addrlen) < 0 ||
	    zsock_send(sock, buf, len, 0) != len) {
		ret = -errno;
		goto out;
	}

	buf[0] = '\0';
	while (used < size - 1) {
		n = zsock_recv(sock, buf + used, size - 1 - used, 0);
		if (n <= 0) {
			break;
		}
		used += n;
		buf[used] = '\0';
		if (complete(buf, used)) {
			break;
		}
	}

	if (n < 0) {
		ret = -errno; /* EAGAIN = timeout */
	} else if (used == size - 1) {
		ret = -ENOBUFS;
	} else if (used < 12 || strncmp(buf, "HTTP/1.", 7) != 0 ||
		   (sep = strstr(buf, "\r\n\r\n")) == NULL) {
		ret = -EBADMSG; /* conexão fechada sem resposta (ex.: placa rebootando) */
	} else {
		const char *te = header(buf, "Transfer-Encoding");

		*body = sep + 4;
		ret = atoi(buf + 9);
		if (te != NULL && strncasecmp(te, "chunked", 7) == 0 && dechunk(*body) < 0) {
			ret = -EBADMSG;
		}
	}

out:
	zsock_close(sock);
	zsock_freeaddrinfo(ai);
	return ret;
}
```

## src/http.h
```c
#ifndef HTTP_H_
#define HTTP_H_

#include <stddef.h>
#include <stdint.h>

/*
 * Requisição HTTP/1.1 bloqueante, com timeout (CONFIG_SUPERVISOR_TIMEOUT_MS).
 * A resposta inteira vai para buf; *body aponta para o corpo (NUL-terminado,
 * já sem chunked encoding).
 *
 * Retorna o status HTTP (200, 500, ...) ou -errno (timeout, conexão recusada...).
 */
int http_request(const char *addr, uint16_t port, const char *method, const char *path,
		 char *buf, size_t size, char **body);

#endif
```

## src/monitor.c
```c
#include "monitor.h"

unsigned int monitor_update(struct monitor *m, bool ok, uint32_t uptime_ms, int64_t now_ms)
{
	unsigned int ev = 0;

	if (ok) {
		if (m->known && uptime_ms < m->uptime_ms) {
			ev |= MON_EV_REBOOT;
		}
		if (!m->known || m->failed) {
			ev |= MON_EV_UP;
		}
		m->known = true;
		m->failed = false;
		m->fails = 0;
		m->uptime_ms = uptime_ms;
		return ev;
	}

	/* Placa reiniciando por causa do nosso reset: não conta como falha */
	if (now_ms < m->hold_until) {
		return 0;
	}

	if (++m->fails < m->threshold) {
		return 0;
	}

	/* ponytail: reenvia reset a cada N falhas + grace, sem backoff; adicionar
	 * backoff se resets repetidos atrapalharem a placa na integração.
	 */
	m->fails = 0;
	m->resets++;
	m->hold_until = now_ms + m->grace_ms;
	ev = MON_EV_RESET;
	if (!m->failed) {
		m->failed = true;
		ev |= MON_EV_DOWN;
	}
	return ev;
}
```

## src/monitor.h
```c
/*
 * Detecção de falha de um subsistema (gateway ou servidor).
 *
 * Lógica pura, sem Zephyr: dá para testar no PC (ver tests/test_monitor.c).
 */

#ifndef MONITOR_H_
#define MONITOR_H_

#include <stdbool.h>
#include <stdint.h>

/* Eventos devolvidos por monitor_update() (podem vir combinados) */
#define MON_EV_UP     (1u << 0) /* respondeu pela 1a vez ou voltou de uma falha */
#define MON_EV_DOWN   (1u << 1) /* N timeouts consecutivos: marcado em falha */
#define MON_EV_RESET  (1u << 2) /* enviar POST /reset agora */
#define MON_EV_REBOOT (1u << 3) /* uptime_ms voltou para trás: a placa reiniciou */

struct monitor {
	/* configuração */
	int threshold;     /* N falhas consecutivas até marcar falha */
	uint32_t grace_ms; /* tempo sem contar falhas depois de um reset */

	/* estado */
	bool known;        /* já respondeu alguma vez */
	bool failed;       /* marcado em falha */
	int fails;         /* falhas consecutivas */
	int resets;        /* resets enviados */
	int last_result;   /* retorno da última consulta: status HTTP ou -errno */
	uint32_t uptime_ms;
	int64_t hold_until;
};

/*
 * Registra o resultado de uma consulta a /health.
 * ok: respondeu HTTP 200. uptime_ms: valor lido (ignorado se !ok).
 */
unsigned int monitor_update(struct monitor *m, bool ok, uint32_t uptime_ms, int64_t now_ms);

#endif
```

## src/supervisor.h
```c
/* Estado compartilhado entre a thread de consulta (main.c) e a UI (ui.c) */

#ifndef SUPERVISOR_H_
#define SUPERVISOR_H_

#include <zephyr/kernel.h>

#include "monitor.h"

#define MAX_NODES  8
#define MAX_EVENTS 16

struct node_view {
	int id;
	int light;
	int flags;
	int age_ms;
	char temp[8];
	char accel[3][8];
};

struct event {
	uint32_t t_s;
	char text[18];
};

struct sup_state {
	struct monitor gw;
	struct monitor srv;
	int nodes_online;
	struct node_view nodes[MAX_NODES];
	int n_nodes;
	struct event events[MAX_EVENTS]; /* anel: evento i em events[i % MAX_EVENTS] */
	int n_events;                    /* total já registrado */
	uint32_t cycles;                 /* ciclos de consulta (LED de heartbeat) */
};

extern struct sup_state sup;
extern struct k_mutex sup_lock; /* protege sup */

/* Pede para a UI redesenhar agora */
void ui_poke(void);

/* Loop da UI (display, LEDs, botões). Não retorna. */
void ui_run(void);

#endif
```

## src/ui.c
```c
/*
 * Interface local: OLED1 (128x32, 4 linhas de 21 caracteres), 3 LEDs, 3 botões.
 *
 *   BOTÃO 1: tela anterior    BOTÃO 2: próxima tela    BOTÃO 3: rolar (nó / evento)
 *   LED 1: gateway em falha   LED 2: servidor em falha LED 3: pisca a cada ciclo
 *
 * Sem display (native_sim) a tela é impressa no console quando muda.
 */

#include <stdio.h>
#include <string.h>

#include <zephyr/kernel.h>
#include <zephyr/device.h>
#include <zephyr/drivers/gpio.h>
#include <zephyr/drivers/display.h>
#include <zephyr/display/cfb.h>
#include <zephyr/input/input.h>
#include <zephyr/logging/log.h>
#include <zephyr/sys/atomic.h>

#include "supervisor.h"

LOG_MODULE_REGISTER(ui, LOG_LEVEL_INF);

#define ROWS 4
#define COLS 21

enum { SCR_STATUS, SCR_NODES, SCR_EVENTS, SCR_COUNT };

static K_SEM_DEFINE(redraw, 0, 1);
static atomic_t screen;
static atomic_t scroll;

static const struct gpio_dt_spec leds[] = {
	GPIO_DT_SPEC_GET_OR(DT_NODELABEL(led_gw), gpios, {0}),
	GPIO_DT_SPEC_GET_OR(DT_NODELABEL(led_srv), gpios, {0}),
	GPIO_DT_SPEC_GET_OR(DT_NODELABEL(led_hb), gpios, {0}),
};

#if defined(CONFIG_CHARACTER_FRAMEBUFFER)
static const struct device *const disp = DEVICE_DT_GET(DT_CHOSEN(zephyr_display));
#else
static const struct device *const disp;
#endif

void ui_poke(void)
{
	k_sem_give(&redraw);
}

#ifdef CONFIG_INPUT
static void on_key(struct input_event *evt, void *user_data)
{
	if (evt->type != INPUT_EV_KEY || evt->value != 1) {
		return; /* só o aperto */
	}

	switch (evt->code) {
	case INPUT_KEY_1:
		atomic_set(&screen, (atomic_get(&screen) + SCR_COUNT - 1) % SCR_COUNT);
		atomic_clear(&scroll);
		break;
	case INPUT_KEY_2:
		atomic_set(&screen, (atomic_get(&screen) + 1) % SCR_COUNT);
		atomic_clear(&scroll);
		break;
	case INPUT_KEY_3:
		atomic_inc(&scroll);
		break;
	default:
		return;
	}
	ui_poke();
}
INPUT_CALLBACK_DEFINE(NULL, on_key, NULL);
#endif

static const char *state_str(const struct monitor *m, char tmp[6])
{
	if (m->failed) {
		return "FALHA";
	}
	if (m->fails > 0) {
		snprintf(tmp, 6, "?%d", m->fails); /* suspeito: falhou mas < N */
		return tmp;
	}
	return m->known ? "OK" : "--";
}

/* Monta as 4 linhas da tela atual. Chamar com sup_lock. */
static void build(char l[ROWS][COLS + 1], int scr, unsigned int off)
{
	char a[6];
	char b[6];

	memset(l, 0, ROWS * (COLS + 1));

	switch (scr) {
	case SCR_STATUS:
		snprintf(l[0], COLS + 1, "GW  %-5s up%5us n%d", state_str(&sup.gw, a),
			 sup.gw.uptime_ms / 1000, sup.nodes_online);
		snprintf(l[1], COLS + 1, "SRV %-5s up%5us", state_str(&sup.srv, b),
			 sup.srv.uptime_ms / 1000);
		snprintf(l[2], COLS + 1, "falhas gw%d srv%d N=%d", sup.gw.fails, sup.srv.fails,
			 CONFIG_SUPERVISOR_FAIL_THRESHOLD);
		snprintf(l[3], COLS + 1, "resets gw%d srv%d", sup.gw.resets, sup.srv.resets);
		break;

	case SCR_NODES: {
		if (sup.n_nodes == 0) {
			snprintf(l[0], COLS + 1, "Nos: sem dados");
			break;
		}
		int i = off % sup.n_nodes;
		const struct node_view *v = &sup.nodes[i];

		snprintf(l[0], COLS + 1, "No%d L:%d fl:%02x %d/%d", v->id, v->light, v->flags,
			 i + 1, sup.n_nodes);
		snprintf(l[1], COLS + 1, "T:%sC visto%5dms", v->temp, v->age_ms);
		snprintf(l[2], COLS + 1, "ax%s ay%s", v->accel[0], v->accel[1]);
		snprintf(l[3], COLS + 1, "az%s", v->accel[2]);
		break;
	}

	case SCR_EVENTS: {
		int avail = MIN(sup.n_events, MAX_EVENTS);

		if (avail == 0) {
			snprintf(l[0], COLS + 1, "Eventos: nenhum");
			break;
		}
		/* mais recente primeiro; BOTÃO 3 rola para os mais antigos */
		for (int r = 0, k = off % avail; r < ROWS && k < avail; r++, k++) {
			const struct event *e = &sup.events[(sup.n_events - 1 - k) % MAX_EVENTS];

			snprintf(l[r], COLS + 1, "%5u %s", e->t_s, e->text);
		}
		break;
	}
	}
}

static void draw(char l[ROWS][COLS + 1])
{
	static char last[ROWS][COLS + 1];

	if (disp != NULL) {
		cfb_framebuffer_clear(disp, false);
		for (int r = 0; r < ROWS; r++) {
			cfb_print(disp, l[r], 0, r * 8);
		}
		cfb_framebuffer_finalize(disp);
		return;
	}

	if (memcmp(l, last, sizeof(last)) != 0) {
		memcpy(last, l, sizeof(last));
		printk("+---------------------+\n");
		for (int r = 0; r < ROWS; r++) {
			printk("|%-21s|\n", l[r]);
		}
		printk("+---------------------+\n");
	}
}

static const struct device *display_init(void)
{
	if (disp == NULL) {
		return NULL;
	}
	if (!device_is_ready(disp)) {
		LOG_ERR("display não está pronto");
		return NULL;
	}
	if (display_set_pixel_format(disp, PIXEL_FORMAT_MONO10) != 0 &&
	    display_set_pixel_format(disp, PIXEL_FORMAT_MONO01) != 0) {
		LOG_ERR("formato de pixel não suportado");
		return NULL;
	}
	if (cfb_framebuffer_init(disp) != 0) {
		LOG_ERR("cfb_framebuffer_init falhou");
		return NULL;
	}
	cfb_framebuffer_clear(disp, true);
	cfb_framebuffer_set_font(disp, 0);
	display_blanking_off(disp);
	return disp;
}

void ui_run(void)
{
	char l[ROWS][COLS + 1];
	const struct device *d = display_init();

	for (size_t i = 0; i < ARRAY_SIZE(leds); i++) {
		if (leds[i].port != NULL) {
			gpio_pin_configure_dt(&leds[i], GPIO_OUTPUT_INACTIVE);
		}
	}

	for (;;) {
		bool on[ARRAY_SIZE(leds)];

		k_mutex_lock(&sup_lock, K_FOREVER);
		build(l, atomic_get(&screen), atomic_get(&scroll));
		on[0] = sup.gw.failed;
		on[1] = sup.srv.failed;
		on[2] = sup.cycles & 1;
		k_mutex_unlock(&sup_lock);

		for (size_t i = 0; i < ARRAY_SIZE(leds); i++) {
			if (leds[i].port != NULL) {
				gpio_pin_set_dt(&leds[i], on[i]);
			}
		}
		if (d != NULL || disp == NULL) {
			draw(l);
		}

		k_sem_take(&redraw, K_MSEC(1000));
	}
}
```
